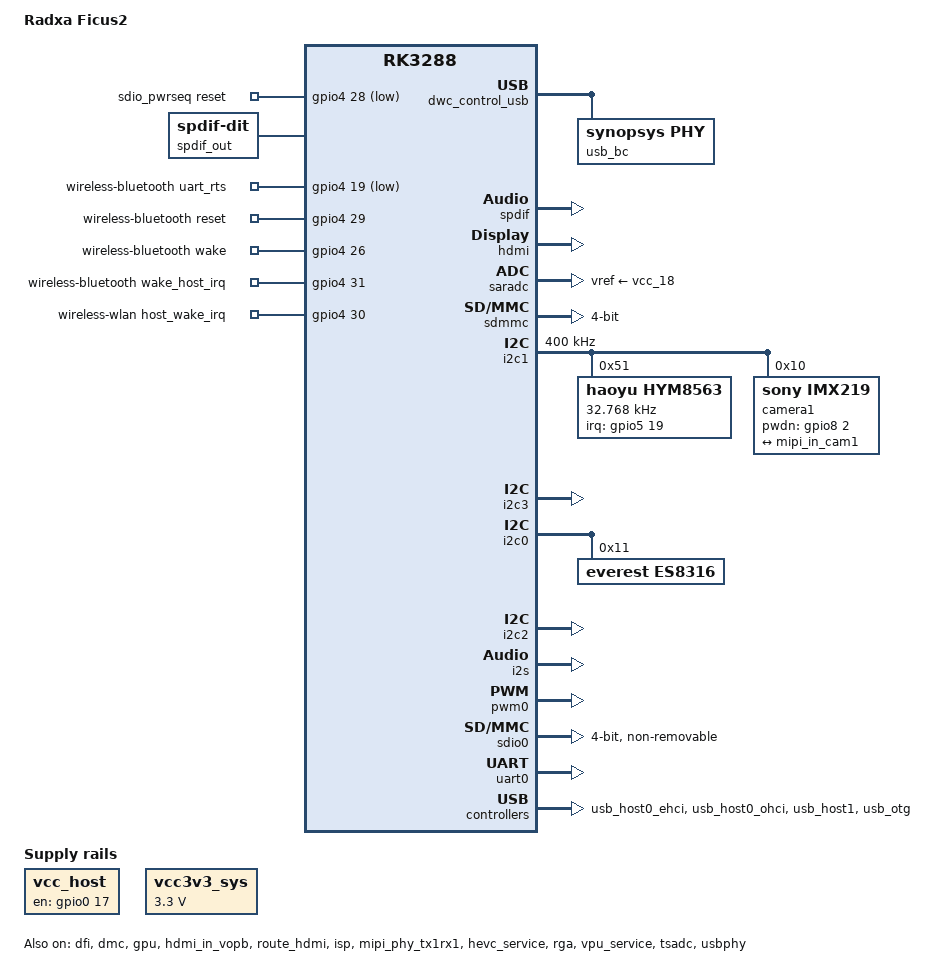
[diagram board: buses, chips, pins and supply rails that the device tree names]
/*
 * Copyright (c) 2018 Fuzhou Rockchip Electronics Co., Ltd
 *
 * SPDX-License-Identifier: (GPL-2.0+ OR MIT)
 */

/dts-v1/;
#include <dt-bindings/display/media-bus-format.h>
#include "rk3288-vmarc-som.dtsi"
#include "rk3288-linux.dtsi"
#include "rk3288-rkisp1.dtsi"

/ {
	model = "Radxa Ficus2";
	compatible = "radxa ficus2", "rockchip,rk3288";

	/delete-node/ chosen;

	sound: sound {
		status = "okay";
		compatible = "simple-audio-card";
		simple-audio-card,format = "i2s";
		simple-audio-card,name = "rockchip,es8316-codec";
		simple-audio-card,mclk-fs = <256>;

		simple-audio-card,widgets =
			"Microphone", "Mic Jack",
			"Headphone","Headphone Jack";
		simple-audio-card,routing =
			"Mic Jack", "MICBIAS1",
			"IN1P", "Mic Jack",
			"Headphone Jack", "HPOL",
			"Headphone Jack", "HPOR";

		simple-audio-card,dai-link@0 {
			format = "i2s";
			cpu {
				sound-dai = <&i2s>;
			};

			codec {
				sound-dai = <&es8316>;
			};
		};

		simple-audio-card,dai-link@1 {
			format = "i2s";
			cpu {
				sound-dai = <&i2s>;
			};

			codec {
				sound-dai = <&hdmi>;
			};
		};
	};

	/* This turns on USB vbus for both host0 (ehci) and host1 (dwc2) */
	vcc_host: vcc-host-regulator {
		compatible = "regulator-fixed";
		enable-active-high;
		gpio = <&gpio0 17 GPIO_ACTIVE_HIGH>,<&gpio5 18 GPIO_ACTIVE_HIGH>;
		pinctrl-names = "default";
		pinctrl-0 = <&host_vbus_drv>,<&hub_rst>;
		regulator-name = "vcc_host";
		regulator-always-on;
		regulator-boot-on;
	};
	/*
	 * NOTE: vcc_sd isn't hooked up on v1.0 boards where power comes from
	 * vcc_io directly.  Those boards won't be able to power cycle SD cards
	 * but it shouldn't hurt to toggle this pin there anyway.
	*/
	vcc3v3_sys: sdmmc-regulator {
		compatible = "regulator-fixed";
		regulator-name = "vcc_sd";
		regulator-min-microvolt = <3300000>;
		regulator-max-microvolt = <3300000>;
		startup-delay-us = <100000>;
	};

	sdio_pwrseq: sdio-pwrseq {
		compatible = "mmc-pwrseq-simple";
		clocks = <&hym8563>;
		clock-names = "ext_clock";
		pinctrl-names = "default";
		pinctrl-0 = <&wifi_enable_h>;

		/*
		 * On the module itself this is one of these (depending
		 * on the actual card populated):
		 * - SDIO_RESET_L_WL_REG_ON
		 * - PDN (power down when low)
		 */
		reset-gpios = <&gpio4 28 GPIO_ACTIVE_LOW>;
	};

	spdif_out: spdif-out {
		compatible = "linux,spdif-dit";
		#sound-dai-cells = <0>;
	};

	spdif-sound {
		status = "okay";
		compatible = "simple-audio-card";
		simple-audio-card,name = "ROCKCHIP,SPDIF";
		simple-audio-card,cpu {
			sound-dai = <&spdif>;
		};
		simple-audio-card,codec {
			sound-dai = <&spdif_out>;
		};
	};

	wireless-bluetooth {
		compatible = "bluetooth-platdata";
		uart_rts_gpios = <&gpio4 19 GPIO_ACTIVE_LOW>;
		pinctrl-names = "default", "rts_gpio";
		pinctrl-0 = <&uart0_rts>;
		pinctrl-1 = <&uart0_gpios>;
		BT,reset_gpio    = <&gpio4 29 GPIO_ACTIVE_HIGH>;
		BT,wake_gpio     = <&gpio4 26 GPIO_ACTIVE_HIGH>;
		BT,wake_host_irq = <&gpio4 31 GPIO_ACTIVE_HIGH>;
		status = "okay";
	};

	wireless-wlan {
		compatible = "wlan-platdata";
		rockchip,grf = <&grf>;
		wifi_chip_type = "ap6256";
		sdio_vref = <1800>;
		WIFI,host_wake_irq = <&gpio4 30 GPIO_ACTIVE_HIGH>;
		status = "okay";
	};

	dwc_control_usb: dwc-control-usb@ff770284 {
		compatible = "rockchip,rk3288-dwc-control-usb";
		status = "okay";
		reg = <0x0 0xff770284 0x0 0x04>, <0x0 0xff770288 0x0 0x04>,
			<0x0 0xff7702cc 0x0 0x04>, <0x0 0xff7702d4 0x0 0x04>,
			<0x0 0xff770320 0x0 0x14>, <0x0 0xff770334 0x0 0x14>,
			<0x0 0xff770348 0x0 0x10>, <0x0 0xff770358 0x0 0x08>,
			<0x0 0xff770360 0x0 0x08>;
		reg-names = "GRF_SOC_STATUS1" ,"GRF_SOC_STATUS2",
					"GRF_SOC_STATUS19", "GRF_SOC_STATUS21",
					"GRF_UOC0_BASE", "GRF_UOC1_BASE",
					"GRF_UOC2_BASE", "GRF_UOC3_BASE",
					"GRF_UOC4_BASE";
		interrupts = <GIC_SPI 93 IRQ_TYPE_LEVEL_HIGH>,
					<GIC_SPI 94 IRQ_TYPE_LEVEL_HIGH>,
					<GIC_SPI 95 IRQ_TYPE_LEVEL_HIGH>,
					<GIC_SPI 96 IRQ_TYPE_LEVEL_HIGH>,
					<GIC_SPI 97 IRQ_TYPE_LEVEL_HIGH>;
		interrupt-names = "otg_id", "otg_bvalid",
					"otg_linestate", "host0_linestate",
					"host1_linestate";
		clocks = <&cru HCLK_USB_PERI>;
		clock-names = "hclk_usb_peri";

		pinctrl-names = "default";
		pinctrl-0 = <&otg_vbus_drv>;
		otg_drv_gpio = <&gpio0 13 GPIO_ACTIVE_HIGH>;
		rockchip,remote_wakeup;
		rockchip,usb_irq_wakeup;

		usb_bc {
			compatible = "synopsys,phy";
			rk_usb,bvalid     = <0x288 14 1>;
			rk_usb,iddig      = <0x288 17 1>;
			rk_usb,dcdenb     = <0x328 14 1>;
			rk_usb,vdatsrcenb = <0x328  7 1>;
			rk_usb,vdatdetenb = <0x328  6 1>;
			rk_usb,chrgsel    = <0x328  5 1>;
			rk_usb,chgdet     = <0x2cc 23 1>;
			rk_usb,fsvminus   = <0x2cc 25 1>;
			rk_usb,fsvplus    = <0x2cc 24 1>;
		};
	};
};

&fiq_debuger {
	rockchip,irq-mode-enable = <1>;
};

&dfi {
	status = "okay";
};

&dmc {
	status = "okay";
};

&spdif {
	status = "okay"; 
};

&hdmi {
	#address-cells = <1>;
	#size-cells = <0>;
	#sound-dai-cells = <0>;
	status = "okay";
};

&saradc {
	vref-supply = <&vcc_18>;
	status = "okay";
};

&gpu {
	status = "okay";
	mali-supply = <&vdd_gpu>;
};

&hdmi_in_vopl {
	status = "disabled";
};

&hdmi_in_vopb {
	status = "okay";
};

&route_hdmi{
	status = "okay";
};

&sdmmc {
	supports-sd;
	bus-width = <4>;
	cap-mmc-highspeed;
	sd-uhs-sdr12;
	sd-uhs-sdr25;
	sd-uhs-sdr50;
	sd-uhs-sdr104;
	cap-sd-highspeed;
	card-detect-delay = <200>;
	disable-wp;			/* wp not hooked up */
	num-slots = <1>;
	pinctrl-names = "default";
	pinctrl-0 = <&sdmmc_clk &sdmmc_cmd &sdmmc_cd &sdmmc_bus4>;
	status = "okay";
	//vmmc-supply = <&vcc_sd>;
	vqmmc-supply = <&vccio_sd>;
	supports-sd;
};

&i2c1 {
	status = "okay";
	clock-frequency = <400000>;

	hym8563: hym8563@51 {
		compatible = "haoyu,hym8563";
		reg = <0x51>;
		#clock-cells = <0>;
		clock-frequency = <32768>;
		clock-output-names = "hym8563";
		pinctrl-names = "default";
		pinctrl-0 = <&hym8563_int>;
		interrupt-parent = <&gpio5>;
		interrupts = <19 IRQ_TYPE_LEVEL_LOW>;
	};

	camera1: camera-module@10 {
		status = "okay";
		compatible = "sony,imx219";
		reg = <0x10>;

		clocks = <&cru SCLK_VIP_OUT>;
		clock-names = "clk_cif_out";
		pinctrl-names = "default";
		pinctrl-0 = <&cam_pwdn>;
		pwdn-gpios = <&gpio8 2 GPIO_ACTIVE_HIGH>;
		rockchip,camera-module-index = <0>;
		rockchip,camera-module-facing = "back";
		rockchip,camera-module-name = "imx219";
		rockchip,camera-module-lens-name = "none";

		port {
			cam_out: endpoint {
				remote-endpoint = <&mipi_in_cam1>;
				data-lanes = <1 2>;
			};
		};
	};
};

&i2c3 {
	status = "okay";
};

&i2c4 {
	status = "disabled";//if enabled vcc_lcd,i2c4 should disabled
};

&i2c0 {
	status = "okay";

	es8316: es8316@11 {
		status = "okay";
		#sound-dai-cells = <0>;
		compatible = "everest,es8316";
		reg = <0x11>;
		clocks = <&cru SCLK_I2S0_OUT>;
		clock-names = "mclk";
		//spk-con-gpio = <&gpio2 3 GPIO_ACTIVE_HIGH>;
	//	hp-det-gpio = <&gpio2 3 GPIO_ACTIVE_LOW>;
		pinctrl-names = "default";
		pinctrl-0 = <&i2s0_mclk>;
	};
};

&isp {
	status = "okay";

	port {
		isp_mipi_in: endpoint {
			remote-endpoint = <&dphy_tx1rx1_out>;
		};
	};
};

&isp_mmu {
	status = "okay";
};

&mipi_phy_rx0 {
	status = "disabled";

	ports {
		#address-cells = <1>;
		#size-cells = <0>;

		port@0 {
			reg = <0>;

			mipi_in_cam: endpoint {
				remote-endpoint = <&cam_out>;
				data-lanes = <1 2>;
			};
		};

		port@1 {
			reg = <1>;

			dphy_rx0_out: endpoint {
				remote-endpoint = <&isp_mipi_in>;
			};
		};
	};
};

&mipi_phy_tx1rx1 {
	status = "okay";

	ports {
		#address-cells = <1>;
		#size-cells = <0>;

		port@0 {
			reg = <0>;

			mipi_in_cam1: endpoint {
				remote-endpoint = <&cam_out>;
				data-lanes = <1 2>;
			};
		};

		port@1 {
			reg = <1>;

			dphy_tx1rx1_out: endpoint {
				remote-endpoint = <&isp_mipi_in>;
			};
		};
	};
};

&rk808_rtc{
	status = "disabled";
};

&hevc_service {
	status = "okay";
};

&i2c2 {
	status = "okay";
};

&i2s {
	#sound-dai-cells = <0>;
	status = "okay";
};

&pwm0 {
	status = "okay"; //if driver mipi dsi,pwm0 should disabled
};

&rga {
	status = "okay";
};

&sdio0 {
	status = "okay";
	max-frequency = <150000000>;

	bus-width = <4>;
	cap-sd-highspeed;
	cap-sdio-irq;
	disable-wp;
	keep-power-in-suspend;
	mmc-pwrseq = <&sdio_pwrseq>;
	non-removable;
	num-slots = <1>;
	pinctrl-names = "default";
	pinctrl-0 = <&sdio0_bus4 &sdio0_cmd &sdio0_clk &sdio0_int>;
	sd-uhs-sdr104;
	supports-sdio;
};

&uart0 {
	pinctrl-names = "default";
	pinctrl-0 = <&uart0_xfer &uart0_cts>;
	status = "okay";
};

&uart2 {
	status = "disabled";
};

&vpu_service {
	status = "okay";
};

&tsadc {
	rockchip,hw-tshut-polarity = <0>; /* tshut polarity 0:LOW 1:HIGH */
	status = "okay";
};

&vopb {
	assigned-clocks = <&cru DCLK_VOP0>;
	assigned-clock-parents = <&cru PLL_GPLL>;
};

&vopl {
	assigned-clocks = <&cru DCLK_VOP1>;
	assigned-clock-parents = <&cru PLL_CPLL>;
};

&usbphy {
	status = "okay";
};

&usb_host0_ehci {
	rockchip-relinquish-port;
	//no-relinquish-port;
	status = "okay";
};

&usb_host0_ohci {
	status = "okay";
};

&usb_host1 {
	status = "okay";
};

&usb_otg {
	compatible = "rockchip,rk3288_usb20_otg";
	clocks = <&usbphy0>, <&cru HCLK_OTG0>;
	clock-names = "clk_usbphy0", "hclk_usb0";
	resets = <&cru SRST_USBOTG_AHB>,
		 <&cru SRST_USBOTG_PHY>,
		 <&cru SRST_USBOTG_CON>;
	reset-names = "otg_ahb", "otg_phy", "otg_controller";
	/*0 - Normal, 1 - Force Host, 2 - Force Device*/
	rockchip,usb-mode = <0>;
	status = "okay";
};

&pinctrl {
	cam {
		cam_pwdn: cam-pwdn {
			rockchip,pins =
				<8 RK_PA2 RK_FUNC_GPIO &pcfg_pull_up_drv_8ma>;
		};
	};

	sdio-pwrseq {
		wifi_enable_h: wifi-enable-h {
			rockchip,pins = <4 28 RK_FUNC_GPIO &pcfg_pull_none>;
		};
	};

	hym8563 {
		hym8563_int: hym8563-int {
			rockchip,pins =
				<5 RK_PC3 0 &pcfg_pull_up>;
		};
	};

	sdmmc {
		/*
		 * Default drive strength isn't enough to achieve even
		 * high-speed mode on EVB board so bump up to 8ma.
		 */
		sdmmc_bus4: sdmmc-bus4 {
			rockchip,pins = <6 16 RK_FUNC_1 &pcfg_pull_up_drv_8ma>,
					<6 17 RK_FUNC_1 &pcfg_pull_up_drv_8ma>,
					<6 18 RK_FUNC_1 &pcfg_pull_up_drv_8ma>,
					<6 19 RK_FUNC_1 &pcfg_pull_up_drv_8ma>;
		};

		sdmmc_clk: sdmmc-clk {
			rockchip,pins = <6 20 RK_FUNC_1 &pcfg_pull_none_drv_8ma>;
		};

		sdmmc_cmd: sdmmc-cmd {
			rockchip,pins = <6 21 RK_FUNC_1 &pcfg_pull_up_drv_8ma>;
		};
	};

	usb {
		host_vbus_drv: host-vbus-drv {
			rockchip,pins = <0 17 RK_FUNC_GPIO &pcfg_pull_none>;
		};

		otg_vbus_drv: otg-vbus-drv {
			rockchip,pins = <0 13 RK_FUNC_GPIO &pcfg_pull_none>;
		};

		hub_rst: hub-rst {
			rockchip,pins = <5 18 RK_FUNC_GPIO &pcfg_pull_up_drv_8ma>;
		};

		pwr_3g: pwr-3g {
			rockchip,pins = <7 8 RK_FUNC_GPIO &pcfg_pull_none>;
		};
	};

	wireless-bluetooth {
		uart0_gpios: uart0-gpios {
			rockchip,pins = <4 19 RK_FUNC_GPIO &pcfg_pull_none>;
		};
	};
};
